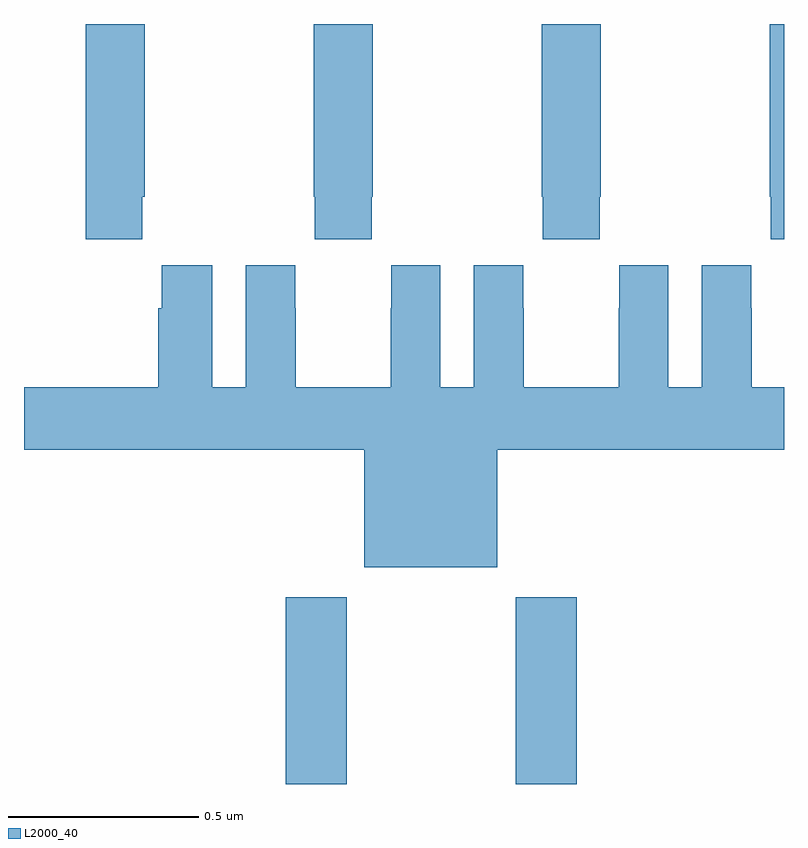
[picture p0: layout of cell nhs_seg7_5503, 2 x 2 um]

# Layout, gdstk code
import gdstk
lib = gdstk.Library(unit=1e-6, precision=1e-09)
def R(c, l, rs):  # rectangles x0, y0, x1, y1
    for r in rs: c.add(gdstk.rectangle(r[:2], r[2:], *l))
def P(c, l, *ps):  # polygons
    for p in ps: c.add(gdstk.Polygon(p, *l))
L2000_40 = (2000, 40)

nhs_seg7_5503 = lib.new_cell('nhs_seg7_5503')
R(nhs_seg7_5503, L2000_40, [(186.689,1069,186.849,1069.492), (187.294,1069,187.454,1069.492)])
P(nhs_seg7_5503, L2000_40, [(186.311,1070.545),(186.318,1070.545),(186.318,1071),(186.163,1071),(186.163,1070.433),(186.311,1070.433)],
  [(186.915,1070.545),(186.918,1070.545),(186.918,1071),(186.763,1071),(186.763,1070.545),(186.765,1070.545),(186.765,1070.433),(186.915,1070.433)],
  [(187.515,1070.545),(187.518,1070.545),(187.518,1071),(187.363,1071),(187.363,1070.545),(187.365,1070.545),(187.365,1070.433),(187.515,1070.433)],
  [(188,1071),(187.963,1071),(187.963,1070.545),(187.965,1070.545),(187.965,1070.433),(188,1070.433)],
  [(187.246,1069.88),(188,1069.88),(188,1070.044),(187.915,1070.044),(187.915,1070.252),(187.914,1070.252),(187.914,1070.365),(187.784,1070.365),(187.784,1070.044),(187.696,1070.044),(187.696,1070.365),(187.566,1070.365),(187.566,1070.252),(187.565,1070.252),(187.565,1070.044),(187.315,1070.044),(187.315,1070.252),(187.314,1070.252),(187.314,1070.365),(187.184,1070.365),(187.184,1070.044),(187.096,1070.044),(187.096,1070.365),(186.966,1070.365),(186.966,1070.252),(186.965,1070.252),(186.965,1070.044),(186.715,1070.044),(186.715,1070.252),(186.714,1070.252),(186.714,1070.365),(186.584,1070.365),(186.584,1070.044),(186.496,1070.044),(186.496,1070.365),(186.362,1070.365),(186.362,1070.252),(186.353,1070.252),(186.353,1070.044),(186,1070.044),(186,1069.88),(186.896,1069.88),(186.896,1069.571),(187.246,1069.571)])

lib.write_gds('nhs_seg7_5503.gds')
